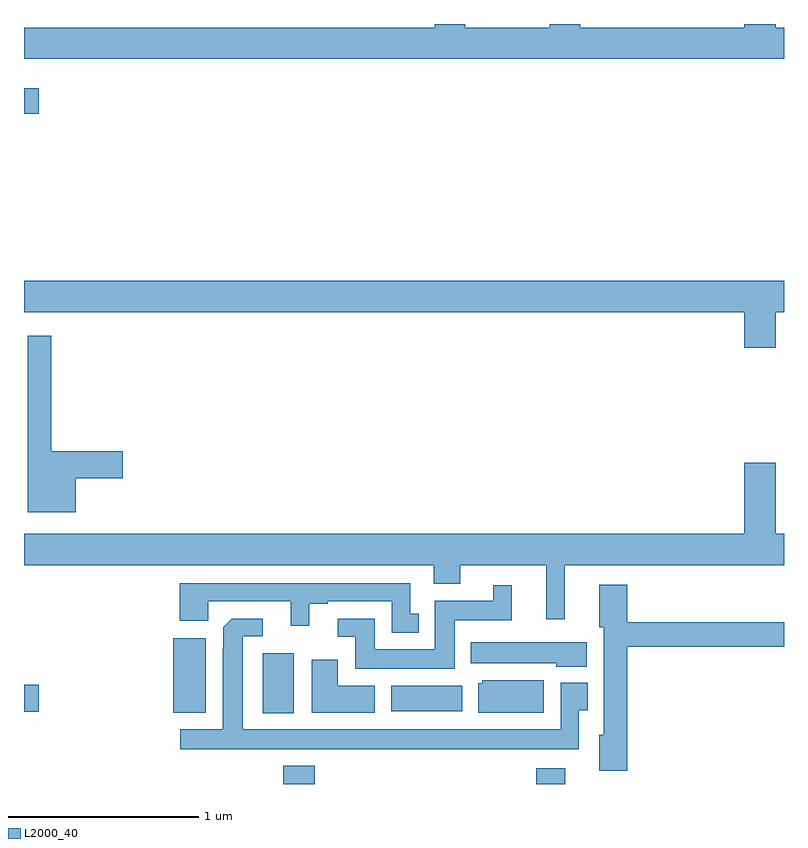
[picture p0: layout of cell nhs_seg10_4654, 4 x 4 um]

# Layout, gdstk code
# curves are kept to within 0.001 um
import gdstk
lib = gdstk.Library(unit=1e-6, precision=1e-09)
def R(c, l, rs):  # rectangles x0, y0, x1, y1
    for r in rs: c.add(gdstk.rectangle(r[:2], r[2:], *l))
def P(c, l, *ps):  # polygons
    for p in ps: c.add(gdstk.Polygon(p, *l))
L2000_40 = (2000, 40)

nhs_seg10_4654 = lib.new_cell('nhs_seg10_4654')
R(nhs_seg10_4654, L2000_40, [(378.365,1296.5,378.53,1296.595), (379.697,1296.5,379.849,1296.583), (378.257,1296.872,378.421,1297.189), (377.786,1296.875,377.956,1297.267), (377,1296.88,377.077,1297.022), (378.932,1296.884,379.306,1297.018), (377,1300.028,377.077,1300.162)])
P(nhs_seg10_4654, L2000_40, [(381,1300.48),(380.956,1300.48),(380.956,1300.5),(380.792,1300.5),(380.792,1300.48),(379.928,1300.48),(379.928,1300.5),(379.768,1300.5),(379.768,1300.48),(379.323,1300.48),(379.323,1300.5),(379.163,1300.5),(379.163,1300.48),(377,1300.48),(377,1300.316),(381,1300.316)],
  [(380.956,1298.984),(381,1298.984),(381,1299.148),(377,1299.148),(377,1298.984),(380.792,1298.984),(380.792,1298.796),(380.956,1298.796)],
  [(377.272,1298.11),(377.521,1298.11),(377.521,1298.252),(377.143,1298.252),(377.143,1298.86),(377.021,1298.86),(377.021,1297.931),(377.272,1297.931)],
  [(379.847,1297.652),(381,1297.652),(381,1297.816),(380.956,1297.816),(380.956,1298.191),(380.792,1298.191),(380.792,1297.816),(377,1297.816),(377,1297.652),(379.157,1297.652),(379.157,1297.553),(379.297,1297.553),(379.297,1297.652),(379.748,1297.652),(379.748,1297.368),(379.847,1297.368)],
  [(379.078,1297.395),(379.032,1297.395),(379.032,1297.557),(377.819,1297.557),(377.819,1297.358),(377.97,1297.358),(377.97,1297.461),(378.404,1297.461),(378.404,1297.332),(378.502,1297.332),(378.502,1297.449),(378.598,1297.449),(378.598,1297.461),(378.936,1297.461),(378.936,1297.295),(379.078,1297.295)],
  [(380.174,1297.222),(381,1297.222),(381,1297.351),(380.174,1297.351),(380.174,1297.549),(380.027,1297.549),(380.027,1297.326),(380.051,1297.326),(380.051,1296.759),(380.027,1296.759),(380.027,1296.569),(380.174,1296.569)],
  [(379.267,1297.361),(379.568,1297.361),(379.568,1297.546),(379.469,1297.546),(379.469,1297.465),(379.163,1297.465),(379.163,1297.21),(378.847,1297.21),(378.847,1297.371),(378.651,1297.371),(378.651,1297.275),(378.743,1297.275),(378.743,1297.106),(379.267,1297.106)],
  [(379.921,1296.889),(379.966,1296.889),(379.966,1297.033),(379.824,1297.033),(379.824,1296.787),(378.151,1296.787),(378.151,1297.278),(378.256,1297.278),(378.256,1297.371),(378.094,1297.371),(378.048,1297.325),(378.047,1296.787),(377.823,1296.787),(377.823,1296.683),(379.921,1296.683)],
  [(379.963,1297.246),(379.352,1297.246),(379.352,1297.136),(379.8,1297.136),(379.8,1297.118),(379.963,1297.118)],
  [(378.847,1297.018),(378.652,1297.018),(378.652,1297.153),(378.515,1297.153),(378.515,1296.875),(378.847,1296.875)],
  [(379.735,1297.045),(379.413,1297.045),(379.413,1297.029),(379.391,1297.029),(379.391,1296.875),(379.735,1296.875)])

lib.write_gds('nhs_seg10_4654.gds')
